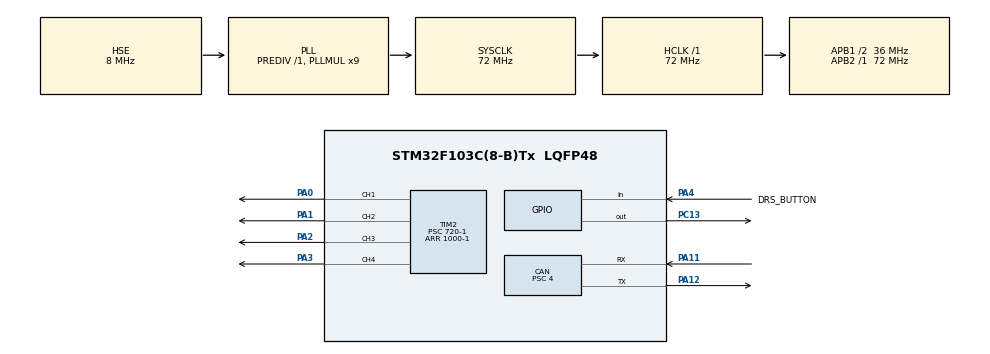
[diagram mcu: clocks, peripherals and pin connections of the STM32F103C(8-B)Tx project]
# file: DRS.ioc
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Mcu.Family=STM32F1
RCC.PLLSourceVirtual=RCC_PLLSOURCE_HSE
NVIC.CAN1_RX1_IRQn=true\:0\:0\:false\:false\:true\:true\:true
TIM2.Channel-PWM\ Generation4\ CH4=TIM_CHANNEL_4
PD1-OSC_OUT.Mode=HSE-External-Oscillator
PC13-TAMPER-RTC.Signal=GPIO_Output
PA11.Mode=Master
PD0-OSC_IN.Signal=RCC_OSC_IN
TIM2.Channel-PWM\ Generation2\ CH2=TIM_CHANNEL_2
RCC.APB1CLKDivider=RCC_HCLK_DIV2
VP_SYS_VS_ND.Mode=No_Debug
CAN.CalculateTimeBit=2000
RCC.SYSCLKSource=RCC_SYSCLKSOURCE_PLLCLK
ProjectManager.StackSize=0x400
PA0-WKUP.Signal=S_TIM2_CH1_ETR
PD1-OSC_OUT.Signal=RCC_OSC_OUT
SH.S_TIM2_CH2.0=TIM2_CH2,PWM Generation2 CH2
PA12.Signal=CAN_TX
CAN.BS2=CAN_BS2_2TQ
CAN.Prescaler=4
CAN.BS1=CAN_BS1_15TQ
ProjectManager.TargetToolchain=STM32CubeIDE
RCC.HCLKFreq_Value=72000000
RCC.APB2TimFreq_Value=72000000
RCC.USBFreq_Value=72000000
PA1.Signal=S_TIM2_CH2
RCC.AHBFreq_Value=72000000
PD0-OSC_IN.Mode=HSE-External-Oscillator
board=custom
RCC.PLLMUL=RCC_PLL_MUL9
RCC.APB2Freq_Value=72000000
SH.S_TIM2_CH3.0=TIM2_CH3,PWM Generation3 CH3
NVIC.TIM2_IRQn=true\:0\:0\:false\:false\:true\:true\:true
TIM2.Channel-PWM\ Generation3\ CH3=TIM_CHANNEL_3
TIM2.Channel-PWM\ Generation1\ CH1=TIM_CHANNEL_1
TIM2.Period=1000-1
Mcu.Name=STM32F103C(8-B)Tx
CAN.CalculateTimeQuantum=111.11111111111111
PA2.Signal=S_TIM2_CH3
PA4.Signal=GPIO_Input
RCC.SYSCLKFreq_VALUE=72000000
Mcu.Package=LQFP48
TIM2.Prescaler=720-1
PA12.Mode=Master
PA11.Signal=CAN_RX
SH.S_TIM2_CH1_ETR.0=TIM2_CH1,PWM Generation1 CH1
ProjectManager.HeapSize=0x200
SH.S_TIM2_CH4.0=TIM2_CH4,PWM Generation4 CH4
NVIC.PriorityGroup=NVIC_PRIORITYGROUP_4
RCC.APB1TimFreq_Value=72000000
RCC.APB1Freq_Value=36000000
PA4.GPIO_Label=DRS_BUTTON
PA3.Signal=S_TIM2_CH4

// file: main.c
/* USER CODE BEGIN Header */
/**
  ******************************************************************************
  * @file           : main.c
  * @brief          : Main program body
  ******************************************************************************
  * @attention
  *
  * <h2><center>&copy; Copyright (c) 2020 STMicroelectronics.
  * All rights reserved.</center></h2>
  *
  * This software component is licensed by ST under BSD 3-Clause license,
  * the "License"; You may not use this file except in compliance with the
  * License. You may obtain a copy of the License at:
  *                        opensource.org/licenses/BSD-3-Clause
  *
  ******************************************************************************
  */
/* USER CODE END Header */

#include "main.h"

CAN_HandleTypeDef hcan;

TIM_HandleTypeDef htim2;

/* USER CODE BEGIN PV */
CAN_TxHeaderTypeDef TxHeader;
CAN_RxHeaderTypeDef RxHeader;
CAN_FilterTypeDef sFilterConfig;
uint16_t myID = 0x124;
uint32_t TxMailbox;
uint8_t CAN_TxDATA[8];
uint8_t CAN_RxDATA[8];
uint16_t DRS_BUTTON = GPIO_PIN_4;
/* USER CODE END PV */

void SystemClock_Config(void);
static void MX_GPIO_Init(void);
static void MX_CAN_Init(void);
static void MX_TIM2_Init(void);
/* USER CODE BEGIN PFP */
void CAN_FilterConfig(void);
/* USER CODE END PFP */

int main(void)
{

  /* MCU Configuration--------------------------------------------------------*/

  /* Reset of all peripherals, Initializes the Flash interface and the Systick. */
  HAL_Init();

  /* Configure the system clock */
  SystemClock_Config();

  /* Initialize all configured peripherals */
  MX_GPIO_Init();
  MX_CAN_Init();
  MX_TIM2_Init();
  /* USER CODE BEGIN 2 */
  HAL_TIM_PWM_Start(&htim2, TIM_CHANNEL_1);
  HAL_TIM_PWM_Start(&htim2, TIM_CHANNEL_2);
  /* USER CODE END 2 */

  /* Infinite loop */
  /* USER CODE BEGIN WHILE */
  if(HAL_CAN_ActivateNotification(hcan, CAN_IT_RX_FIFO1_MSG_PENDING) != HAL_OK){
	  Error_Handler();
  }
  while (1)
  {
	  //CAN CODE
	  if(HAL_CAN_GetTxMailboxesFreeLevel(hcan)){
		  HAL_CAN_AddTxMessage(&hcan, &TxHeader, CAN_TxDATA, TxMailbox);
	  }
	  if(HAL_CAN_GetRxFifoFillLevel(hcan, CAN_RX_FIFO1)){
		  HAL_CAN_GetRxMessage(&hcan, CAN_RX_FIFO1, RxHeader, CAN_RxDATA);
	  }

	  //SERVO CODE
	  if((CAN_RxDATA[0] == 1) || HAL_GPIO_ReadPin(GPIOA, GPIO_PIN_SET)){
		  htim2.Instance->CCR1 = 50;
		  htim2.Instance->CCR2 = 50;
	  }
	  else if(CAN_RxDATA[0] == 0 || HAL_GPIO_ReadPin(GPIOA, GPIO_PIN_SET)){
		  htim2.Instance->CCR1 = 100;
		  htim2.Instance->CCR2 = 100;
	  }
    /* USER CODE END WHILE */

  }
}

void SystemClock_Config(void)
{
  RCC_OscInitTypeDef RCC_OscInitStruct = {0};
  RCC_ClkInitTypeDef RCC_ClkInitStruct = {0};

  /** Initializes the CPU, AHB and APB busses clocks
  */
  RCC_OscInitStruct.OscillatorType = RCC_OSCILLATORTYPE_HSE;
  RCC_OscInitStruct.HSEState = RCC_HSE_ON;
  RCC_OscInitStruct.HSEPredivValue = RCC_HSE_PREDIV_DIV1;
  RCC_OscInitStruct.HSIState = RCC_HSI_ON;
  RCC_OscInitStruct.PLL.PLLState = RCC_PLL_ON;
  RCC_OscInitStruct.PLL.PLLSource = RCC_PLLSOURCE_HSE;
  RCC_OscInitStruct.PLL.PLLMUL = RCC_PLL_MUL9;
  if (HAL_RCC_OscConfig(&RCC_OscInitStruct) != HAL_OK)
  {
    Error_Handler();
  }
  /** Initializes the CPU, AHB and APB busses clocks
  */
  RCC_ClkInitStruct.ClockType = RCC_CLOCKTYPE_HCLK|RCC_CLOCKTYPE_SYSCLK
                              |RCC_CLOCKTYPE_PCLK1|RCC_CLOCKTYPE_PCLK2;
  RCC_ClkInitStruct.SYSCLKSource = RCC_SYSCLKSOURCE_PLLCLK;
  RCC_ClkInitStruct.AHBCLKDivider = RCC_SYSCLK_DIV1;
  RCC_ClkInitStruct.APB1CLKDivider = RCC_HCLK_DIV2;
  RCC_ClkInitStruct.APB2CLKDivider = RCC_HCLK_DIV1;

  if (HAL_RCC_ClockConfig(&RCC_ClkInitStruct, FLASH_LATENCY_2) != HAL_OK)
  {
    Error_Handler();
  }
}

static void MX_CAN_Init(void)
{

  hcan.Instance = CAN1;
  hcan.Init.Prescaler = 4;
  hcan.Init.Mode = CAN_MODE_NORMAL;
  hcan.Init.SyncJumpWidth = CAN_SJW_1TQ;
  hcan.Init.TimeSeg1 = CAN_BS1_15TQ;
  hcan.Init.TimeSeg2 = CAN_BS2_2TQ;
  hcan.Init.TimeTriggeredMode = DISABLE;
  hcan.Init.AutoBusOff = DISABLE;
  hcan.Init.AutoWakeUp = DISABLE;
  hcan.Init.AutoRetransmission = DISABLE;
  hcan.Init.ReceiveFifoLocked = DISABLE;
  hcan.Init.TransmitFifoPriority = DISABLE;
  if (HAL_CAN_Init(&hcan) != HAL_OK)
  {
    Error_Handler();
  }
  /* USER CODE BEGIN CAN_Init 2 */
  TxHeader.DLC = 8;
  TxHeader.IDE = CAN_ID_EXT;
  TxHeader.ExtId = myID;
  TxHeader.RTR = CAN_RTR_DATA;
  /* USER CODE END CAN_Init 2 */

}

static void MX_TIM2_Init(void)
{

  TIM_MasterConfigTypeDef sMasterConfig = {0};
  TIM_OC_InitTypeDef sConfigOC = {0};

  htim2.Instance = TIM2;
  htim2.Init.Prescaler = 720-1;
  htim2.Init.CounterMode = TIM_COUNTERMODE_UP;
  htim2.Init.Period = 1000-1;
  htim2.Init.ClockDivision = TIM_CLOCKDIVISION_DIV1;
  htim2.Init.AutoReloadPreload = TIM_AUTORELOAD_PRELOAD_DISABLE;
  if (HAL_TIM_PWM_Init(&htim2) != HAL_OK)
  {
    Error_Handler();
  }
  sMasterConfig.MasterOutputTrigger = TIM_TRGO_RESET;
  sMasterConfig.MasterSlaveMode = TIM_MASTERSLAVEMODE_DISABLE;
  if (HAL_TIMEx_MasterConfigSynchronization(&htim2, &sMasterConfig) != HAL_OK)
  {
    Error_Handler();
  }
  sConfigOC.OCMode = TIM_OCMODE_PWM1;
  sConfigOC.Pulse = 0;
  sConfigOC.OCPolarity = TIM_OCPOLARITY_HIGH;
  sConfigOC.OCFastMode = TIM_OCFAST_DISABLE;
  if (HAL_TIM_PWM_ConfigChannel(&htim2, &sConfigOC, TIM_CHANNEL_1) != HAL_OK)
  {
    Error_Handler();
  }
  if (HAL_TIM_PWM_ConfigChannel(&htim2, &sConfigOC, TIM_CHANNEL_2) != HAL_OK)
  {
    Error_Handler();
  }
  if (HAL_TIM_PWM_ConfigChannel(&htim2, &sConfigOC, TIM_CHANNEL_3) != HAL_OK)
  {
    Error_Handler();
  }
  if (HAL_TIM_PWM_ConfigChannel(&htim2, &sConfigOC, TIM_CHANNEL_4) != HAL_OK)
  {
    Error_Handler();
  }
  HAL_TIM_MspPostInit(&htim2);

}

static void MX_GPIO_Init(void)
{
  GPIO_InitTypeDef GPIO_InitStruct = {0};

  /* GPIO Ports Clock Enable */
  __HAL_RCC_GPIOC_CLK_ENABLE();
  __HAL_RCC_GPIOD_CLK_ENABLE();
  __HAL_RCC_GPIOA_CLK_ENABLE();

  /*Configure GPIO pin Output Level */
  HAL_GPIO_WritePin(GPIOC, GPIO_PIN_13, GPIO_PIN_RESET);

  /*Configure GPIO pin : PC13 */
  GPIO_InitStruct.Pin = GPIO_PIN_13;
  GPIO_InitStruct.Mode = GPIO_MODE_OUTPUT_PP;
  GPIO_InitStruct.Pull = GPIO_NOPULL;
  GPIO_InitStruct.Speed = GPIO_SPEED_FREQ_LOW;
  HAL_GPIO_Init(GPIOC, &GPIO_InitStruct);

  /*Configure GPIO pin : DRS_BUTTON_Pin */
  GPIO_InitStruct.Pin = DRS_BUTTON;
  GPIO_InitStruct.Mode = GPIO_MODE_INPUT;
  GPIO_InitStruct.Pull = GPIO_NOPULL;
  HAL_GPIO_Init(DRS_BUTTON_GPIO_Port, &GPIO_InitStruct);

}

/* USER CODE BEGIN 4 */
void CAN_FilterConfig(void){
	sFilterConfig.FilterActivation = CAN_FILTER_ENABLE;
	sFilterConfig.FilterBank = 0;
	sFilterConfig.FilterFIFOAssignment = CAN_FILTER_FIFO1;
	sFilterConfig.FilterIdHigh = 0x0;
	sFilterConfig.FilterIdLow = 0x0;
	sFilterConfig.FilterMaskIdHigh = 0x0;
	sFilterConfig.FilterMaskIdLow = 0x0;
	sFilterConfig.FilterMode = CAN_FILTERMODE_IDMASK;
	sFilterConfig.FilterScale = CAN_FILTERSCALE_32BIT;

	if(HAL_CAN_ConfigFilter(hcan, sFilterConfig) != HAL_OK){
		Error_Handler();
	}
}
/* USER CODE END 4 */

void Error_Handler(void)
{
}

/************************ (C) COPYRIGHT STMicroelectronics *****END OF FILE****/
